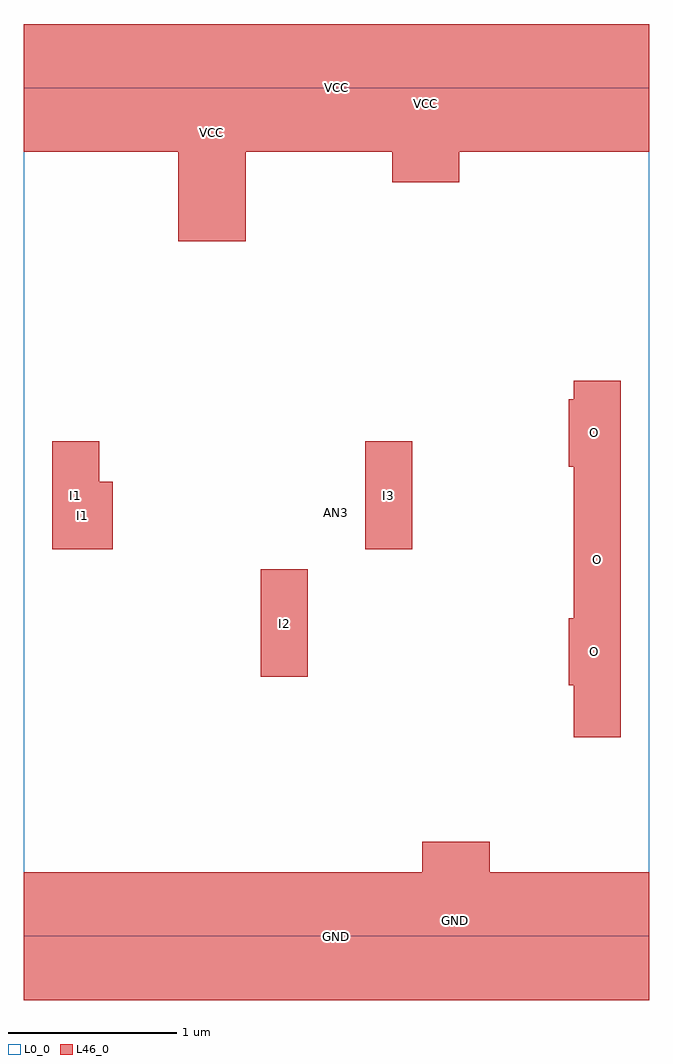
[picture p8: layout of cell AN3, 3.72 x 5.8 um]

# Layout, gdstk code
import gdstk
lib = gdstk.Library(unit=1e-6, precision=1e-09)
def R(c, l, rs):  # rectangles x0, y0, x1, y1
    for r in rs: c.add(gdstk.rectangle(r[:2], r[2:], *l))
L0_0 = (0, 0)
L46_0 = (46, 0)

an3 = lib.new_cell('AN3')
R(an3, L0_0, [(0,0,3.72,5.04)])
R(an3, L46_0, [(0,-0.38,3.72,0.38), (2.37,-0.38,2.77,0.56), (3.27,1.18,3.55,3.3), (3.24,1.49,3.55,1.89), (1.41,1.54,1.69,2.18), (0.17,2.3,0.45,2.94), (0.17,2.3,0.53,2.7), (2.03,2.3,2.31,2.94), (3.24,2.79,3.55,3.19), (0.92,4.13,1.32,5.42), (2.19,4.48,2.59,5.42), (0,4.66,3.72,5.42)])
an3.add(gdstk.Label('AN3', (1.86,2.52), layer=0, texttype=0))
an3.add(gdstk.Label('O', (3.395,2.99), layer=101, texttype=0))
an3.add(gdstk.Label('O', (3.41,2.24), layer=101, texttype=0))
an3.add(gdstk.Label('O', (3.395,1.69), layer=101, texttype=0))
an3.add(gdstk.Label('I2', (1.55,1.86), layer=101, texttype=0))
an3.add(gdstk.Label('I1', (0.35,2.5), layer=101, texttype=0))
an3.add(gdstk.Label('I1', (0.31,2.62), layer=101, texttype=0))
an3.add(gdstk.Label('I3', (2.17,2.62), layer=101, texttype=0))
an3.add(gdstk.Label('GND', (1.86,0), layer=101, texttype=0))
an3.add(gdstk.Label('GND', (2.57,0.09), layer=101, texttype=0))
an3.add(gdstk.Label('VCC', (2.39,4.95), layer=101, texttype=0))
an3.add(gdstk.Label('VCC', (1.86,5.04), layer=101, texttype=0))
an3.add(gdstk.Label('VCC', (1.12,4.775), layer=101, texttype=0))

lib.write_gds('AN3.gds')
